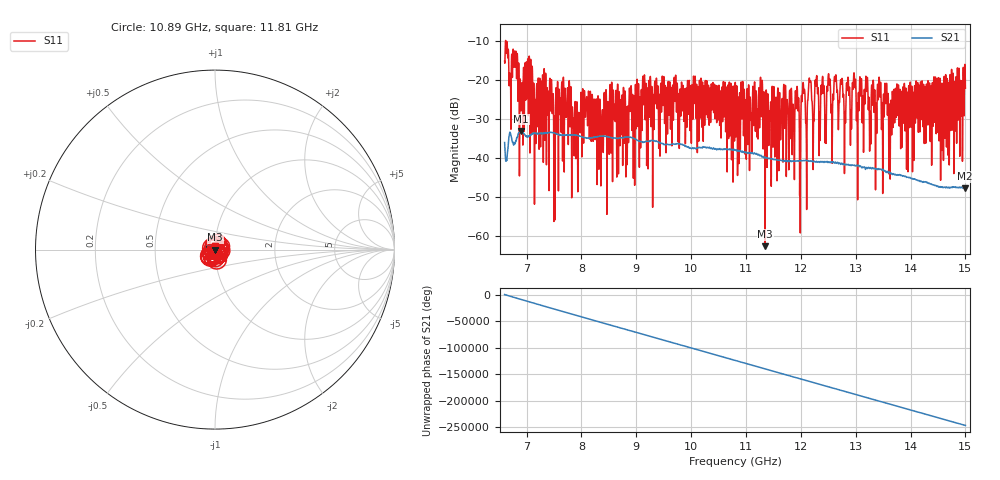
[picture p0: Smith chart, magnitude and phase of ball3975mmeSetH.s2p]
!Keysight Technologies,N5235B,MY61252044,A.15.00.15
!Date: Friday, January 20, 2023 20:39:16
!Correction: S11(Off)
!S21(Off)
!S12(Off)
!S22(Off)
!S2P File: Measurements: S11, S21, S12, S22:
# Hz S  RI  R 50
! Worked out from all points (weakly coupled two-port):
!   5000 points, 6.6 GHz to 15 GHz, reference 50 ohm
!   highest |S21| = -33.05 dB at 6.901 GHz (marker M1); lowest = -47.8 dB at 14.99 GHz (marker M2)
!   lowest |S11| = -62.7 dB at 11.35 GHz (marker M3), VSWR 1.00, Z = 50.1 - j0.0193 ohm
!   |S11| at or under -10 dB: start of sweep to 6.616258 GHz; 6.621 GHz to end of sweep
!   S12 and S22 are empty: the file has one direction only
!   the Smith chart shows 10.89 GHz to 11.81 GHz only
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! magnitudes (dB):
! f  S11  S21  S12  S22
! 6.6 GHz  -15.1  -36.0  -  -
! 6.709 GHz  -21.2  -33.8  -  -
! 6.795 GHz  -16.0  -36.1  -  -
! 6.901 GHz  -27.6  -33.0  -  -
! 7.012 GHz  -22.4  -34.5  -  -
! 7.158 GHz  -25.0  -33.7  -  -
! 7.312 GHz  -21.0  -33.5  -  -
! 7.511 GHz  -29.2  -33.6  -  -
! 7.635 GHz  -23.5  -34.1  -  -
! 8.001 GHz  -25.5  -34.5  -  -
! 9.401 GHz  -23.8  -35.9  -  -
! 10.8 GHz  -21.2  -38.1  -  -
! 11.27 GHz  -19.3  -39.3  -  -
! 11.35 GHz  -62.7  -39.8  -  -
! 11.93 GHz  -21.7  -40.7  -  -
! 11.98 GHz  -39.9  -40.7  -  -
! 12.04 GHz  -20.6  -40.7  -  -
! 12.2 GHz  -25.2  -40.8  -  -
! 12.97 GHz  -18.1  -41.8  -  -
! 13.6 GHz  -30.1  -43.8  -  -
! 14.99 GHz  -16.1  -47.8  -  -
! 15 GHz  -22.1  -47.6  -  -
